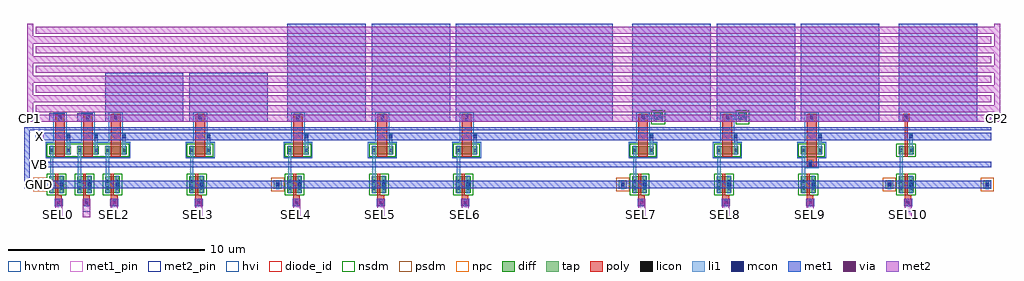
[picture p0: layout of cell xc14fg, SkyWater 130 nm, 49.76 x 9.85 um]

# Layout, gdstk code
import gdstk
lib = gdstk.Library(unit=1e-6, precision=1e-09)
def R(c, l, rs):  # rectangles x0, y0, x1, y1
    for r in rs: c.add(gdstk.rectangle(r[:2], r[2:], *l))
def A(c, l, x, y, w, h, nx, ny, dx, dy):  # array of equal rectangles
    R(c, l, [(x+i*dx, y+j*dy, x+i*dx+w, y+j*dy+h) for i in range(nx) for j in range(ny)])
diff = (65, 20)
tap = (65, 44)
poly = (66, 20)
licon = (66, 44)
li1 = (67, 20)
mcon = (67, 44)
met1_pin = (68, 16)
met1 = (68, 20)
via = (68, 44)
met2_pin = (69, 16)
met2 = (69, 20)
hvi = (75, 20)
diode_id = (81, 23)
nsdm = (93, 44)
psdm = (94, 20)
npc = (95, 20)
hvntm = (125, 20)

xc14fg = lib.new_cell('xc14fg')
A(xc14fg, diff, 0.69, -1.96, 0.75, 0.84, 3, 1, 1.42, 0)
A(xc14fg, diff, 12.82, -1.96, 0.75, 0.84, 3, 1, 4.3, 0)
A(xc14fg, diff, 30.41, -1.96, 0.75, 0.84, 3, 1, 4.3, 0)
A(xc14fg, diff, 0.69, 0, 1.1, 0.42, 3, 1, 1.42, 0)
A(xc14fg, diff, 12.82, 0, 1.1, 0.42, 3, 1, 4.3, 0)
A(xc14fg, diff, 30.41, 0, 1.1, 0.42, 3, 1, 4.3, 0)
R(xc14fg, diff, [(7.83,-1.96,8.58,-1.12), (44,-1.96,44.75,-1.12), (7.83,0,8.93,0.42), (44,0,44.75,0.42), (31.51,1.66,31.96,2.11), (35.81,1.66,36.26,2.11)])
R(xc14fg, tap, [(0,-1.75,0.42,-1.33), (12.13,-1.75,12.55,-1.33), (29.72,-1.75,30.14,-1.33), (43.31,-1.75,43.73,-1.33), (48.3,-1.75,48.72,-1.33)])
A(xc14fg, poly, 0.99, -2.62, 0.34, 0.53, 3, 1, 1.42, 0)
A(xc14fg, poly, 13.12, -2.62, 0.34, 0.53, 3, 1, 4.3, 0)
A(xc14fg, poly, 30.71, -2.62, 0.34, 0.53, 3, 1, 4.3, 0)
A(xc14fg, poly, 0.99, -2.09, 0.15, 1.1, 3, 1, 1.42, 0)
A(xc14fg, poly, 13.12, -2.09, 0.15, 1.1, 3, 1, 4.3, 0)
A(xc14fg, poly, 30.71, -2.09, 0.15, 1.1, 3, 1, 4.3, 0)
A(xc14fg, poly, 0.99, -0.13, 0.5, 2.18, 3, 1, 1.42, 0)
A(xc14fg, poly, 13.12, -0.13, 0.5, 2.18, 3, 1, 4.3, 0)
R(xc14fg, poly, [(8.13,-2.62,8.47,-2.09), (44.3,-2.62,44.64,-2.09), (8.13,-2.09,8.28,-0.99), (44.3,-2.09,44.45,-0.99), (39.31,-0.62,39.81,2.05), (8.13,-0.13,8.63,2.05), (30.71,-0.13,31.21,2.05), (35.01,-0.13,35.51,2.05), (44.3,-0.13,44.45,1.72), (44.205,1.72,44.545,2.05)])
A(xc14fg, licon, 1.08, -2.54, 0.17, 0.17, 3, 1, 1.42, 0)
A(xc14fg, licon, 13.21, -2.54, 0.17, 0.17, 3, 1, 4.3, 0)
A(xc14fg, licon, 30.8, -2.54, 0.17, 0.17, 3, 1, 4.3, 0)
A(xc14fg, licon, 1.155, 1.8, 0.17, 0.17, 3, 1, 1.42, 0)
A(xc14fg, licon, 13.285, 1.8, 0.17, 0.17, 3, 1, 4.3, 0)
R(xc14fg, licon, [(8.22,-2.54,8.39,-2.37), (44.39,-2.54,44.56,-2.37), (0.73,-1.795,0.9,-1.625), (1.23,-1.795,1.4,-1.625), (2.15,-1.795,2.32,-1.625), (2.65,-1.795,2.82,-1.625), (3.57,-1.795,3.74,-1.625), (4.07,-1.795,4.24,-1.625), (7.87,-1.795,8.04,-1.625), (8.37,-1.795,8.54,-1.625), (12.86,-1.795,13.03,-1.625), (13.36,-1.795,13.53,-1.625), (17.16,-1.795,17.33,-1.625), (17.66,-1.795,17.83,-1.625), (21.46,-1.795,21.63,-1.625), (21.96,-1.795,22.13,-1.625), (30.45,-1.795,30.62,-1.625), (30.95,-1.795,31.12,-1.625), (34.75,-1.795,34.92,-1.625), (35.25,-1.795,35.42,-1.625), (39.05,-1.795,39.22,-1.625), (39.55,-1.795,39.72,-1.625), (44.04,-1.795,44.21,-1.625), (44.54,-1.795,44.71,-1.625), (0.125,-1.625,0.295,-1.455), (12.255,-1.625,12.425,-1.455), (29.845,-1.625,30.015,-1.455), (43.435,-1.625,43.605,-1.455), (48.425,-1.625,48.595,-1.455), (0.73,-1.455,0.9,-1.285), (1.23,-1.455,1.4,-1.285), (2.15,-1.455,2.32,-1.285), (2.65,-1.455,2.82,-1.285), (3.57,-1.455,3.74,-1.285), (4.07,-1.455,4.24,-1.285), (7.87,-1.455,8.04,-1.285), (8.37,-1.455,8.54,-1.285), (12.86,-1.455,13.03,-1.285), (13.36,-1.455,13.53,-1.285), (17.16,-1.455,17.33,-1.285), (17.66,-1.455,17.83,-1.285), (21.46,-1.455,21.63,-1.285), (21.96,-1.455,22.13,-1.285), (30.45,-1.455,30.62,-1.285), (30.95,-1.455,31.12,-1.285), (34.75,-1.455,34.92,-1.285), (35.25,-1.455,35.42,-1.285), (39.05,-1.455,39.22,-1.285), (39.55,-1.455,39.72,-1.285), (44.04,-1.455,44.21,-1.285), (44.54,-1.455,44.71,-1.285), (39.4,-0.54,39.57,-0.37), (0.73,0.125,0.9,0.295), (1.58,0.125,1.75,0.295), (2.15,0.125,2.32,0.295), (3,0.125,3.17,0.295), (3.57,0.125,3.74,0.295), (4.42,0.125,4.59,0.295), (7.87,0.125,8.04,0.295), (8.72,0.125,8.89,0.295), (12.86,0.125,13.03,0.295), (13.71,0.125,13.88,0.295), (17.16,0.125,17.33,0.295), (18.01,0.125,18.18,0.295), (21.46,0.125,21.63,0.295), (22.31,0.125,22.48,0.295), (30.45,0.125,30.62,0.295), (31.3,0.125,31.47,0.295), (34.75,0.125,34.92,0.295), (35.6,0.125,35.77,0.295), (39.05,0.125,39.22,0.295), (39.9,0.125,40.07,0.295), (44.04,0.125,44.21,0.295), (44.54,0.125,44.71,0.295), (8.295,1.8,8.465,1.97), (30.875,1.8,31.045,1.97), (31.65,1.8,31.82,1.97), (35.175,1.8,35.345,1.97), (35.95,1.8,36.12,1.97), (39.475,1.8,39.645,1.97), (44.29,1.8,44.46,1.97)])
A(xc14fg, li1, 1.08, -2.62, 0.17, 0.33, 3, 1, 1.42, 0)
A(xc14fg, li1, 13.21, -2.62, 0.17, 0.33, 3, 1, 4.3, 0)
A(xc14fg, li1, 30.8, -2.62, 0.17, 0.33, 3, 1, 4.3, 0)
A(xc14fg, li1, 0.73, -1.98, 0.17, 2.42, 3, 1, 1.42, 0)
A(xc14fg, li1, 1.23, -1.98, 0.17, 0.88, 3, 1, 1.42, 0)
A(xc14fg, li1, 12.86, -1.98, 0.17, 2.42, 3, 1, 4.3, 0)
A(xc14fg, li1, 13.36, -1.98, 0.17, 0.88, 3, 1, 4.3, 0)
A(xc14fg, li1, 30.45, -1.98, 0.17, 2.42, 3, 1, 4.3, 0)
A(xc14fg, li1, 30.95, -1.98, 0.17, 0.88, 3, 1, 4.3, 0)
A(xc14fg, li1, 1.58, -0.02, 0.17, 1.07, 3, 1, 1.42, 0)
A(xc14fg, li1, 13.71, -0.02, 0.17, 1.07, 3, 1, 4.3, 0)
A(xc14fg, li1, 31.3, -0.02, 0.17, 1.07, 3, 1, 4.3, 0)
A(xc14fg, li1, 1.155, 1.72, 0.17, 0.33, 3, 1, 1.42, 0)
A(xc14fg, li1, 13.285, 1.72, 0.17, 0.33, 3, 1, 4.3, 0)
R(xc14fg, li1, [(8.22,-2.62,8.39,-2.29), (44.39,-2.62,44.56,-2.29), (7.87,-1.98,8.04,0.44), (8.37,-1.98,8.54,-1.1), (44.04,-1.98,44.21,0.44), (44.54,-1.98,44.71,-1.1), (0.125,-1.77,0.295,-1.31), (12.255,-1.77,12.425,-1.31), (29.845,-1.77,30.015,-1.31), (43.435,-1.77,43.605,-1.31), (48.425,-1.77,48.595,-1.31), (39.4,-0.62,39.57,-0.29), (8.72,-0.02,8.89,1.05), (44.54,-0.02,44.71,1.05), (8.295,1.72,8.465,2.05), (30.875,1.72,31.045,1.8), (35.175,1.72,35.345,1.8), (39.475,1.72,39.645,2.05), (44.29,1.72,44.46,2.05), (30.875,1.8,31.9,1.97), (35.175,1.8,36.2,1.97), (30.875,1.97,31.045,2.05), (35.175,1.97,35.345,2.05)])
A(xc14fg, mcon, 1.08, -2.54, 0.17, 0.17, 3, 1, 1.42, 0)
A(xc14fg, mcon, 13.21, -2.54, 0.17, 0.17, 3, 1, 4.3, 0)
A(xc14fg, mcon, 30.8, -2.54, 0.17, 0.17, 3, 1, 4.3, 0)
A(xc14fg, mcon, 1.23, -1.625, 0.17, 0.17, 3, 1, 1.42, 0)
A(xc14fg, mcon, 13.36, -1.625, 0.17, 0.17, 3, 1, 4.3, 0)
A(xc14fg, mcon, 30.95, -1.625, 0.17, 0.17, 3, 1, 4.3, 0)
A(xc14fg, mcon, 1.58, 0.82, 0.17, 0.17, 3, 1, 1.42, 0)
A(xc14fg, mcon, 13.71, 0.82, 0.17, 0.17, 3, 1, 4.3, 0)
A(xc14fg, mcon, 31.3, 0.82, 0.17, 0.17, 3, 1, 4.3, 0)
A(xc14fg, mcon, 1.155, 1.8, 0.17, 0.17, 3, 1, 1.42, 0)
A(xc14fg, mcon, 13.285, 1.8, 0.17, 0.17, 3, 1, 4.3, 0)
A(xc14fg, mcon, 30.875, 1.8, 0.17, 0.17, 3, 1, 4.3, 0)
R(xc14fg, mcon, [(8.22,-2.54,8.39,-2.37), (44.39,-2.54,44.56,-2.37), (0.125,-1.625,0.295,-1.455), (8.37,-1.625,8.54,-1.455), (12.255,-1.625,12.425,-1.455), (29.845,-1.625,30.015,-1.455), (43.435,-1.625,43.605,-1.455), (44.54,-1.625,44.71,-1.455), (48.425,-1.625,48.595,-1.455), (39.4,-0.6,39.57,-0.43), (8.72,0.82,8.89,0.99), (44.54,0.82,44.71,0.99), (8.295,1.8,8.465,1.97), (44.29,1.8,44.46,1.97)])
R(xc14fg, met1_pin, [(0,-1.74,0.4,-1.34), (0,-0.66,0.4,-0.37), (0,0.72,0.4,1.09)])
A(xc14fg, met1, 0.965, -2.655, 0.4, 0.4, 3, 1, 1.42, 0)
A(xc14fg, met1, 13.095, -2.655, 0.4, 0.4, 3, 1, 4.3, 0)
A(xc14fg, met1, 30.685, -2.655, 0.4, 0.4, 3, 1, 4.3, 0)
A(xc14fg, met1, 30.41, 1.65, 4, 5, 3, 1, 4.3, 0)
R(xc14fg, met1, [(8.105,-2.655,8.505,-2.255), (44.275,-2.655,44.675,-2.255), (-0.6,-1.74,48.72,-1.34), (-0.6,-1.34,-0.3,1.23), (0,-0.66,48.72,-0.37), (0,0.72,48.72,1.09), (-0.6,1.23,48.72,1.37), (0.69,1.65,1.49,2.1), (2.11,1.65,2.91,2.1), (3.53,1.65,7.53,4.15), (7.83,1.65,11.83,4.15), (12.82,1.65,16.82,6.65), (17.12,1.65,21.12,6.65), (21.42,1.65,29.42,6.65), (44,1.65,48,6.65)])
A(xc14fg, via, 1.09, -2.53, 0.15, 0.15, 3, 1, 1.42, 0)
A(xc14fg, via, 13.22, -2.53, 0.15, 0.15, 3, 1, 4.3, 0)
A(xc14fg, via, 30.81, -2.53, 0.15, 0.15, 3, 1, 4.3, 0)
R(xc14fg, via, [(8.23,-2.53,8.38,-2.38), (44.4,-2.53,44.55,-2.38)])
A(xc14fg, met2_pin, 0.985, -3.2, 0.36, 0.3, 3, 1, 1.42, 0)
A(xc14fg, met2_pin, 13.115, -3.2, 0.36, 0.3, 3, 1, 4.3, 0)
A(xc14fg, met2_pin, 30.705, -3.2, 0.36, 0.3, 3, 1, 4.3, 0)
R(xc14fg, met2_pin, [(8.125,-3.2,8.485,-2.9), (44.295,-3.2,44.655,-2.9), (-0.44,1.65,-0.14,2.05), (48.86,1.65,49.16,2.05)])
A(xc14fg, met2, 0.985, -3.2, 0.36, 0.925, 3, 1, 1.42, 0)
A(xc14fg, met2, 13.115, -3.2, 0.36, 0.925, 3, 1, 4.3, 0)
A(xc14fg, met2, 30.705, -3.2, 0.36, 0.925, 3, 1, 4.3, 0)
A(xc14fg, met2, -0.44, 1.65, 49.16, 0.36, 1, 5, 0, 1)
A(xc14fg, met2, -0.44, 2.01, 0.3, 0.64, 1, 5, 0, 1)
A(xc14fg, met2, 0, 2.15, 49.16, 0.36, 1, 5, 0, 1)
A(xc14fg, met2, 48.86, 2.51, 0.3, 0.64, 1, 4, 0, 1)
R(xc14fg, met2, [(8.125,-3.2,8.485,-2.275), (44.295,-3.2,44.655,-2.275), (48.86,1.65,49.16,2.15), (48.86,6.51,49.16,6.65)])
A(xc14fg, hvi, 12.635, -0.21, 1.47, 0.84, 3, 1, 4.3, 0)
A(xc14fg, hvi, 30.225, -0.21, 1.47, 0.84, 3, 1, 4.3, 0)
A(xc14fg, hvi, 0.89, 0.63, 0.7, 1.52, 3, 1, 1.42, 0)
A(xc14fg, hvi, 13.02, 0.63, 0.7, 1.52, 3, 1, 4.3, 0)
A(xc14fg, hvi, 30.61, 0.63, 0.7, 1.52, 3, 1, 4.3, 0)
R(xc14fg, hvi, [(39.21,-0.72,39.91,-0.21), (0.505,-0.21,4.815,0.63), (7.645,-0.21,9.115,0.63), (8.03,0.63,8.73,2.15)])
R(xc14fg, diode_id, [(31.51,1.66,31.96,2.11), (35.81,1.66,36.26,2.11)])
A(xc14fg, nsdm, 0.565, -2.085, 1, 1.09, 3, 1, 1.42, 0)
A(xc14fg, nsdm, 12.695, -2.085, 1, 1.09, 3, 1, 4.3, 0)
A(xc14fg, nsdm, 30.285, -2.085, 1, 1.09, 3, 1, 4.3, 0)
A(xc14fg, nsdm, 12.695, -0.125, 1.35, 0.67, 3, 1, 4.3, 0)
A(xc14fg, nsdm, 30.285, -0.125, 1.35, 0.67, 3, 1, 4.3, 0)
R(xc14fg, nsdm, [(7.705,-2.085,8.705,-0.995), (43.875,-2.085,44.875,-0.995), (0.565,-0.125,4.755,0.545), (7.705,-0.125,9.055,0.545), (43.875,-0.125,44.875,0.545), (31.385,1.535,32.085,2.235), (35.685,1.535,36.385,2.235)])
R(xc14fg, psdm, [(-0.125,-1.875,0.545,-1.205), (12.005,-1.875,12.675,-1.205), (29.595,-1.875,30.265,-1.205), (43.185,-1.875,43.855,-1.205), (48.175,-1.875,48.845,-1.205)])
A(xc14fg, npc, 0.98, -2.64, 0.37, 0.37, 3, 1, 1.42, 0)
A(xc14fg, npc, 13.11, -2.64, 0.37, 0.37, 3, 1, 4.3, 0)
A(xc14fg, npc, 30.7, -2.64, 0.37, 0.37, 3, 1, 4.3, 0)
A(xc14fg, npc, 1.055, 1.7, 0.37, 0.37, 3, 1, 1.42, 0)
A(xc14fg, npc, 13.185, 1.7, 0.37, 0.37, 3, 1, 4.3, 0)
A(xc14fg, npc, 30.775, 1.7, 0.37, 0.37, 3, 1, 4.3, 0)
R(xc14fg, npc, [(8.12,-2.64,8.49,-2.27), (44.29,-2.64,44.66,-2.27), (39.3,-0.64,39.67,-0.27), (8.195,1.7,8.565,2.07), (44.19,1.7,44.56,2.07)])
A(xc14fg, hvntm, 12.635, -0.185, 1.47, 0.79, 3, 1, 4.3, 0)
A(xc14fg, hvntm, 30.225, -0.185, 1.47, 0.79, 3, 1, 4.3, 0)
R(xc14fg, hvntm, [(0.505,-0.185,4.815,0.605), (7.645,-0.185,9.115,0.605)])
xc14fg.add(gdstk.Label('SEL0', (1.165,-3.05), layer=69, texttype=5))
xc14fg.add(gdstk.Label('SEL1', (2.585,-3.05), layer=69, texttype=5))
xc14fg.add(gdstk.Label('SEL2', (4.005,-3.05), layer=69, texttype=5))
xc14fg.add(gdstk.Label('SEL3', (8.305,-3.05), layer=69, texttype=5))
xc14fg.add(gdstk.Label('SEL4', (13.295,-3.05), layer=69, texttype=5))
xc14fg.add(gdstk.Label('SEL5', (17.595,-3.05), layer=69, texttype=5))
xc14fg.add(gdstk.Label('SEL6', (21.895,-3.05), layer=69, texttype=5))
xc14fg.add(gdstk.Label('SEL7', (30.885,-3.05), layer=69, texttype=5))
xc14fg.add(gdstk.Label('SEL8', (35.185,-3.05), layer=69, texttype=5))
xc14fg.add(gdstk.Label('SEL9', (39.485,-3.05), layer=69, texttype=5))
xc14fg.add(gdstk.Label('SEL10', (44.475,-3.05), layer=69, texttype=5))
xc14fg.add(gdstk.Label('X', (0.2,0.905), layer=68, texttype=5))
xc14fg.add(gdstk.Label('VB', (0.2,-0.515), layer=68, texttype=5))
xc14fg.add(gdstk.Label('GND', (0.2,-1.54), layer=68, texttype=5))
xc14fg.add(gdstk.Label('CP1', (-0.29,1.85), layer=69, texttype=5))
xc14fg.add(gdstk.Label('CP2', (49.01,1.85), layer=69, texttype=5))

lib.write_gds('xc14fg.gds')
